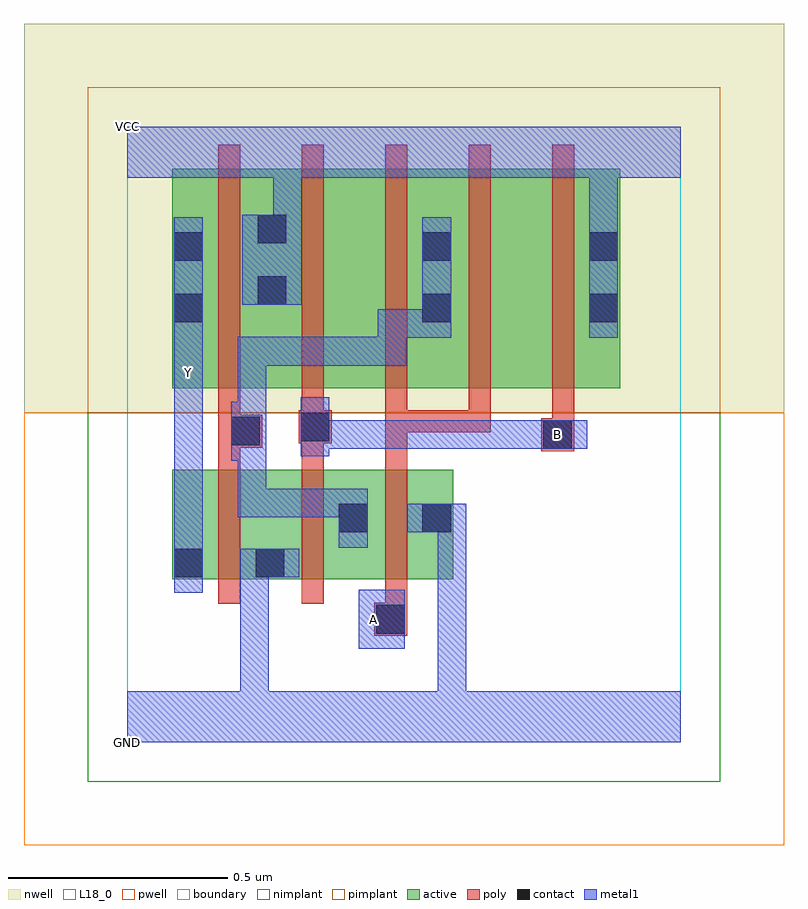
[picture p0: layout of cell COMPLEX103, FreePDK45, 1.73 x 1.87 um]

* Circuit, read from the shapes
.subckt COMPLEX103 A B GND VCC Y
M1 GND n1 Y VSUBS nfet w=0.25u l=0.05u
M2 n1 B GND VSUBS nfet w=0.25u l=0.05u
M3 GND A n1 VSUBS nfet w=0.25u l=0.05u
M4 VCC n1 Y n2 pfet w=0.5u l=0.05u
M5 n3 B VCC n2 pfet w=0.5u l=0.05u
M6 n1 A n3 n2 pfet w=0.5u l=0.05u
M7 n4 A n1 n2 pfet w=0.5u l=0.05u
M8 VCC B n4 n2 pfet w=0.5u l=0.05u
.ends

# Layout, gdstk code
import gdstk
lib = gdstk.Library(unit=1e-6, precision=1e-09)
def R(c, l, rs):  # rectangles x0, y0, x1, y1
    for r in rs: c.add(gdstk.rectangle(r[:2], r[2:], *l))
def A(c, l, x, y, w, h, nx, ny, dx, dy):  # array of equal rectangles
    R(c, l, [(x+i*dx, y+j*dy, x+i*dx+w, y+j*dy+h) for i in range(nx) for j in range(ny)])
active = (1, 0)
pwell = (2, 0)
nwell = (3, 0)
nimplant = (4, 0)
pimplant = (5, 0)
poly = (9, 0)
contact = (10, 0)
metal1 = (11, 0)
L18_0 = (18, 0)
boundary = (235, 0)

complex103 = lib.new_cell('COMPLEX103')
R(complex103, active, [(0.102,0.37,0.177,0.62), (0.102,0.37,0.362,0.62), (0.287,0.37,0.552,0.62), (0.287,0.37,0.362,0.445), (0.477,0.37,0.552,0.62), (0.477,0.37,0.742,0.62), (0.667,0.37,0.742,0.62), (0.102,0.805,0.177,1.2), (0.102,0.805,0.367,1.305), (0.292,0.805,0.367,1.305), (0.292,0.805,0.517,1.305), (0.517,0.805,0.742,1.305), (0.667,0.805,0.897,1.305), (0.667,0.805,0.742,1.2), (0.897,0.805,1.122,1.305), (1.047,0.805,1.122,1.305)])
R(complex103, pwell, [(-0.235,-0.235,1.495,0.75)])
R(complex103, nwell, [(-0.235,0.75,1.495,1.635)])
R(complex103, nimplant, [(-0.09,-0.09,1.35,0.75)])
R(complex103, pimplant, [(-0.09,0.75,1.35,1.49)])
A(complex103, poly, 0.207, 0.315, 0.05, 0.36, 3, 1, 0.19, 0)
A(complex103, poly, 0.397, 0.705, 0.05, 0.095, 3, 1, 0.19, 0)
A(complex103, poly, 0.207, 0.75, 0.05, 0.61, 5, 1, 0.19, 0)
R(complex103, poly, [(0.562,0.242,0.637,0.317), (0.587,0.267,0.637,0.365), (0.207,0.625,0.257,0.72), (0.397,0.625,0.447,0.73), (0.587,0.625,0.637,0.755), (0.942,0.662,1.017,0.737), (0.207,0.67,0.307,0.745), (0.39,0.68,0.465,0.755), (0.967,0.687,1.017,0.8), (0.207,0.695,0.257,0.8), (0.587,0.705,0.827,0.755), (0.587,0.705,0.637,0.755), (0.587,0.705,0.637,0.755), (0.587,0.705,0.637,0.755), (0.777,0.705,0.827,0.755)])
R(complex103, contact, [(0.567,0.247,0.632,0.312), (0.107,0.375,0.172,0.44), (0.292,0.375,0.357,0.44), (0.482,0.477,0.547,0.542), (0.672,0.477,0.737,0.542), (0.947,0.667,1.012,0.732), (0.237,0.675,0.302,0.74), (0.395,0.685,0.46,0.75), (0.107,0.955,0.172,1.02), (0.672,0.955,0.737,1.02), (1.052,0.955,1.117,1.02), (0.297,0.995,0.362,1.06), (0.107,1.095,0.172,1.16), (0.672,1.095,0.737,1.16), (1.052,1.095,1.117,1.16), (0.297,1.135,0.362,1.2)])
R(complex103, metal1, [(0,0,1.26,0.115), (0.257,0.05,0.322,0.115), (0.257,0.05,0.322,0.115), (0.257,0.05,0.322,0.115), (0.257,0.05,0.322,0.115), (0.257,0.05,0.322,0.115), (0.257,0.05,0.322,0.115), (0.257,0.05,0.322,0.44), (0.707,0.05,0.772,0.115), (0.707,0.05,0.772,0.115), (0.707,0.05,0.772,0.115), (0.707,0.05,0.772,0.115), (0.707,0.05,0.772,0.115), (0.707,0.05,0.772,0.115), (0.707,0.05,0.772,0.542), (0.527,0.212,0.632,0.347), (0.107,0.34,0.172,0.475), (0.257,0.375,0.392,0.44), (0.107,0.41,0.172,0.837), (0.482,0.442,0.547,0.577), (0.637,0.477,0.772,0.542), (0.252,0.512,0.317,0.577), (0.252,0.512,0.455,0.577), (0.252,0.512,0.317,0.775), (0.39,0.512,0.455,0.577), (0.39,0.512,0.547,0.577), (0.237,0.64,0.302,0.775), (0.395,0.65,0.46,0.785), (0.395,0.667,0.46,0.732), (0.395,0.667,0.46,0.732), (0.395,0.667,0.597,0.732), (0.532,0.667,0.597,0.732), (0.532,0.667,0.597,0.732), (0.532,0.667,0.597,0.732), (0.532,0.667,0.772,0.732), (0.707,0.667,0.772,0.732), (0.707,0.667,0.977,0.732), (0.912,0.667,0.977,0.732), (0.912,0.667,0.977,0.732), (0.912,0.667,1.047,0.732), (0.237,0.71,0.317,0.775), (0.252,0.71,0.317,0.775), (0.252,0.71,0.317,0.922), (0.107,0.772,0.172,0.907), (0.107,0.842,0.172,0.985), (0.252,0.857,0.317,0.922), (0.252,0.857,0.455,0.922), (0.39,0.857,0.455,0.922), (0.39,0.857,0.455,0.922), (0.39,0.857,0.455,0.922), (0.39,0.857,0.635,0.922), (0.57,0.857,0.635,0.985), (0.107,0.92,0.172,1.195), (0.57,0.92,0.737,0.985), (0.672,0.92,0.737,1.195), (1.052,0.92,1.117,1.195), (0.262,0.995,0.397,1.2), (1.052,1.13,1.117,1.35), (0.332,1.135,0.397,1.35), (0,1.285,1.26,1.4)])
R(complex103, L18_0, [(0,0,1.26,0.115), (0.257,0.05,0.322,0.115), (0.257,0.05,0.322,0.115), (0.257,0.05,0.322,0.115), (0.257,0.05,0.322,0.115), (0.257,0.05,0.322,0.115), (0.257,0.05,0.322,0.115), (0.257,0.05,0.322,0.44), (0.707,0.05,0.772,0.115), (0.707,0.05,0.772,0.115), (0.707,0.05,0.772,0.115), (0.707,0.05,0.772,0.115), (0.707,0.05,0.772,0.115), (0.707,0.05,0.772,0.115), (0.707,0.05,0.772,0.542), (0.527,0.212,0.632,0.347), (0.527,0.247,0.592,0.312), (0.107,0.34,0.172,0.475), (0.257,0.375,0.392,0.44), (0.107,0.41,0.172,0.837), (0.637,0.477,0.772,0.542), (0.395,0.65,0.46,0.785), (0.395,0.667,0.46,0.732), (0.395,0.667,0.46,0.732), (0.395,0.667,0.597,0.732), (0.532,0.667,0.597,0.732), (0.532,0.667,0.597,0.732), (0.532,0.667,0.597,0.732), (0.532,0.667,0.772,0.732), (0.707,0.667,0.772,0.732), (0.707,0.667,0.977,0.732), (0.912,0.667,0.977,0.732), (0.912,0.667,0.977,0.732), (0.912,0.667,1.047,0.732), (0.947,0.667,1.012,0.732), (0.107,0.772,0.172,0.907), (0.107,0.807,0.172,0.872), (0.107,0.842,0.172,0.985), (0.107,0.92,0.172,1.195), (1.052,0.92,1.117,1.195), (0.262,0.995,0.397,1.2), (1.052,1.13,1.117,1.35), (0.332,1.135,0.397,1.35), (0,1.285,1.26,1.4)])
R(complex103, boundary, [(0,0,1.26,1.4)])
complex103.add(gdstk.Label('A', (0.56,0.28), layer=11, texttype=0))
complex103.add(gdstk.Label('B', (0.98,0.7), layer=11, texttype=0))
complex103.add(gdstk.Label('Y', (0.14,0.84), layer=11, texttype=0))
complex103.add(gdstk.Label('VCC', (0,1.4), layer=11, texttype=0))
complex103.add(gdstk.Label('GND', (0,0), layer=11, texttype=0))

lib.write_gds('COMPLEX103.gds')
